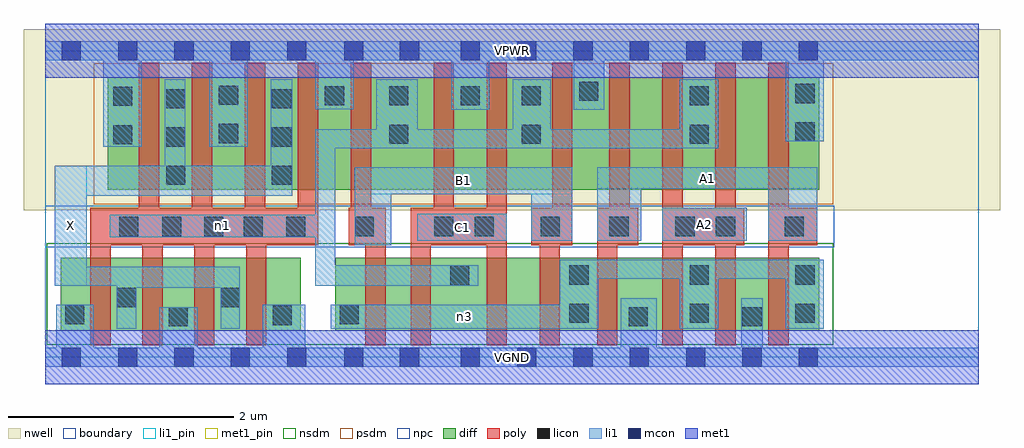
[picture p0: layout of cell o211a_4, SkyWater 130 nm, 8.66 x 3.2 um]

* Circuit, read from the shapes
.subckt o211a_4 A1 A2 B1 C1 VGND VPWR X n1 n3
XM1 X n1 VGND VSUBS sky130_fd_pr__nfet_01v8 w=0.65 l=0.18 m=4
XM2 n2 B1 n3 VSUBS sky130_fd_pr__nfet_01v8 w=0.65 l=0.18
XM3 n1 C1 n2 VSUBS sky130_fd_pr__nfet_01v8 w=0.65 l=0.18
XM4 n4 C1 n1 VSUBS sky130_fd_pr__nfet_01v8 w=0.65 l=0.18
XM5 n3 B1 n4 VSUBS sky130_fd_pr__nfet_01v8 w=0.65 l=0.18
XM6 VGND A1 n3 VSUBS sky130_fd_pr__nfet_01v8 w=0.65 l=0.18 m=2
XM7 n3 A2 VGND VSUBS sky130_fd_pr__nfet_01v8 w=0.65 l=0.18 m=2
XM8 X n1 VPWR n5 sky130_fd_pr__pfet_01v8 w=1 l=0.18 m=4
XM9 n1 B1 VPWR n5 sky130_fd_pr__pfet_01v8 w=1 l=0.18 m=2
XM10 VPWR C1 n1 n5 sky130_fd_pr__pfet_01v8 w=1 l=0.18 m=2
XM11 n6 A1 VPWR n5 sky130_fd_pr__pfet_01v8 w=1 l=0.18
XM12 n1 A2 n6 n5 sky130_fd_pr__pfet_01v8 w=1 l=0.18
XM13 n7 A2 n1 n5 sky130_fd_pr__pfet_01v8 w=1 l=0.18
XM14 VPWR A1 n7 n5 sky130_fd_pr__pfet_01v8 w=1 l=0.18
.ends

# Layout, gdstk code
import gdstk
lib = gdstk.Library(unit=1e-6, precision=1e-09)
def R(c, l, rs):  # rectangles x0, y0, x1, y1
    for r in rs: c.add(gdstk.rectangle(r[:2], r[2:], *l))
def A(c, l, x, y, w, h, nx, ny, dx, dy):  # array of equal rectangles
    R(c, l, [(x+i*dx, y+j*dy, x+i*dx+w, y+j*dy+h) for i in range(nx) for j in range(ny)])
nwell = (64, 20)
diff = (65, 20)
poly = (66, 20)
licon = (66, 44)
li1_pin = (67, 16)
li1 = (67, 20)
mcon = (67, 44)
met1_pin = (68, 16)
met1 = (68, 20)
nsdm = (93, 44)
psdm = (94, 20)
npc = (95, 20)
boundary = (235, 4)

o211a_4 = lib.new_cell('o211a_4')
R(o211a_4, nwell, [(-0.19,1.305,8.47,2.91), (0,1.305,8.28,2.91)])
R(o211a_4, diff, [(0.135,0.235,2.265,0.885), (2.57,0.235,6.865,0.885), (0.555,1.485,6.865,2.485)])
A(o211a_4, poly, 0.4, 0.105, 0.18, 1.22, 4, 1, 0.46, 0)
A(o211a_4, poly, 5.475, 0.105, 0.18, 2.51, 3, 1, 0.47, 0)
A(o211a_4, poly, 0.83, 0.995, 0.18, 1.62, 4, 1, 0.47, 0)
R(o211a_4, poly, [(2.84,0.105,3.02,1.325), (3.24,0.105,3.42,1.325), (3.915,0.105,4.095,2.615), (4.385,0.105,4.565,1.325), (4.895,0.105,5.075,1.325), (0.4,0.995,2.42,1.325), (2.69,0.995,3.02,1.325), (2.71,0.995,2.84,2.615), (3.24,0.995,4.095,1.325), (3.445,0.995,3.625,2.615), (4.31,0.995,4.675,1.325), (4.495,0.995,4.675,2.615), (4.895,0.995,5.26,1.325), (5.005,0.995,5.185,2.615), (5.475,0.995,6.2,1.325), (6.415,0.995,6.85,1.325), (2.71,1.325,2.89,2.615)])
A(o211a_4, licon, 1.07, 1.53, 0.17, 0.17, 1, 3, 0, 0.34)
A(o211a_4, licon, 2.01, 1.53, 0.17, 0.17, 1, 3, 0, 0.34)
R(o211a_4, licon, [(1.095,0.275,1.265,0.445), (5.175,0.275,5.345,0.445), (6.185,0.275,6.355,0.445), (2.015,0.285,2.185,0.455), (0.175,0.295,0.345,0.465), (2.61,0.295,2.78,0.465), (4.65,0.305,4.82,0.475), (5.715,0.305,5.885,0.475), (6.655,0.305,6.825,0.475), (0.635,0.445,0.805,0.615), (1.555,0.445,1.725,0.615), (3.59,0.64,3.76,0.81), (4.65,0.645,4.82,0.815), (5.715,0.645,5.885,0.815), (6.655,0.645,6.825,0.815), (0.655,1.075,0.825,1.245), (1.035,1.075,1.205,1.245), (1.41,1.075,1.58,1.245), (1.76,1.075,1.93,1.245), (2.135,1.075,2.305,1.245), (2.745,1.075,2.915,1.245), (3.45,1.075,3.62,1.245), (3.81,1.075,3.98,1.245), (4.395,1.075,4.565,1.245), (5.005,1.075,5.175,1.245), (5.59,1.075,5.76,1.245), (5.95,1.075,6.12,1.245), (6.56,1.075,6.73,1.245), (0.6,1.89,0.77,2.06), (3.05,1.895,3.22,2.065), (4.225,1.895,4.395,2.065), (5.715,1.895,5.885,2.065), (1.54,1.9,1.71,2.07), (6.655,1.915,6.825,2.085), (0.6,2.23,0.77,2.4), (2.48,2.235,2.65,2.405), (3.05,2.235,3.22,2.405), (3.685,2.235,3.855,2.405), (4.225,2.235,4.395,2.405), (5.715,2.235,5.885,2.405), (1.54,2.24,1.71,2.41), (6.655,2.255,6.825,2.425), (4.735,2.275,4.905,2.445)])
R(o211a_4, li1_pin, [(0.085,0.635,0.365,1.7), (3.3,1.035,4.095,1.275), (5.475,1.035,6.225,1.325), (2.745,1.445,4.675,1.685), (4.895,1.495,6.85,1.685)])
R(o211a_4, li1, [(0,-0.085,8.28,0.085), (0.095,-0.085,0.43,0.465), (1.01,-0.085,1.35,0.445), (1.93,-0.085,2.305,0.465), (5.105,-0.085,5.425,0.525), (6.175,-0.085,6.365,0.525), (0.635,0.255,0.805,0.805), (1.555,0.255,1.725,0.805), (2.53,0.255,4.905,0.465), (4.565,0.255,4.905,0.865), (5.63,0.255,5.97,0.865), (6.57,0.255,6.905,0.865), (0.635,0.615,1.725,0.805), (0.085,0.635,1.725,0.805), (0.085,0.635,0.365,1.7), (2.395,0.635,3.84,0.815), (2.395,0.635,2.57,2.025), (4.565,0.695,6.905,0.865), (2.745,0.995,3.07,1.685), (3.3,1.035,4.095,1.275), (4.31,1.035,4.675,1.685), (4.895,1.035,5.285,1.685), (5.475,1.035,6.225,1.325), (6.415,1.035,6.85,1.685), (0.57,1.065,2.57,1.265), (0.085,1.435,2.19,1.7), (1.06,1.435,1.24,2.465), (2,1.435,2.19,2.465), (2.745,1.445,4.675,1.685), (4.895,1.495,6.85,1.685), (2.395,1.855,5.97,2.025), (2.935,1.855,3.305,2.465), (4.145,1.855,4.485,2.465), (5.63,1.855,5.97,2.465), (0.515,1.87,0.855,2.805), (1.455,1.87,1.795,2.805), (6.57,1.915,6.905,2.805), (3.6,2.195,3.94,2.805), (4.69,2.195,4.96,2.805), (2.395,2.2,2.735,2.805), (0,2.635,8.28,2.805)])
A(o211a_4, mcon, 0.145, -0.085, 0.17, 0.17, 5, 2, 0.5, 2.72)
A(o211a_4, mcon, 3.685, -0.085, 0.17, 0.17, 7, 2, 0.5, 2.72)
R(o211a_4, mcon, [(2.65,-0.085,2.82,0.085), (3.145,-0.085,3.315,0.085), (2.65,2.635,2.82,2.805), (3.145,2.635,3.315,2.805)])
R(o211a_4, met1_pin, [(0,-0.24,8.28,0.24), (0,2.48,8.28,2.96)])
R(o211a_4, met1, [(0,-0.24,8.28,0.24), (0,2.48,8.28,2.96)])
R(o211a_4, nsdm, [(0.01,0.11,6.99,1.01)])
R(o211a_4, psdm, [(0.43,1.36,6.99,2.61)])
R(o211a_4, npc, [(0,0.975,7,1.345)])
R(o211a_4, boundary, [(0,0,8.28,2.72)])
o211a_4.add(gdstk.Label('A1', (5.872,1.59), layer=67, texttype=5))
o211a_4.add(gdstk.Label('A2', (5.85,1.18), layer=67, texttype=5))
o211a_4.add(gdstk.Label('B1', (3.71,1.565), layer=67, texttype=5))
o211a_4.add(gdstk.Label('C1', (3.697,1.155), layer=67, texttype=5))
o211a_4.add(gdstk.Label('X', (0.225,1.167), layer=67, texttype=5))
o211a_4.add(gdstk.Label('n3', (3.717,0.36), layer=67, texttype=5))
o211a_4.add(gdstk.Label('n1', (1.57,1.165), layer=67, texttype=5))
o211a_4.add(gdstk.Label('VPWR', (4.14,2.72), layer=68, texttype=5))
o211a_4.add(gdstk.Label('VGND', (4.14,0), layer=68, texttype=5))
o211a_4.add(gdstk.Label('A1', (5.872,1.59), layer=67, texttype=16))
o211a_4.add(gdstk.Label('A2', (5.85,1.18), layer=67, texttype=16))
o211a_4.add(gdstk.Label('B1', (3.71,1.565), layer=67, texttype=16))
o211a_4.add(gdstk.Label('C1', (3.697,1.155), layer=67, texttype=16))
o211a_4.add(gdstk.Label('X', (0.225,1.167), layer=67, texttype=16))
o211a_4.add(gdstk.Label('VPWR', (4.14,2.72), layer=68, texttype=16))
o211a_4.add(gdstk.Label('VGND', (4.14,0), layer=68, texttype=16))

lib.write_gds('o211a_4.gds')
